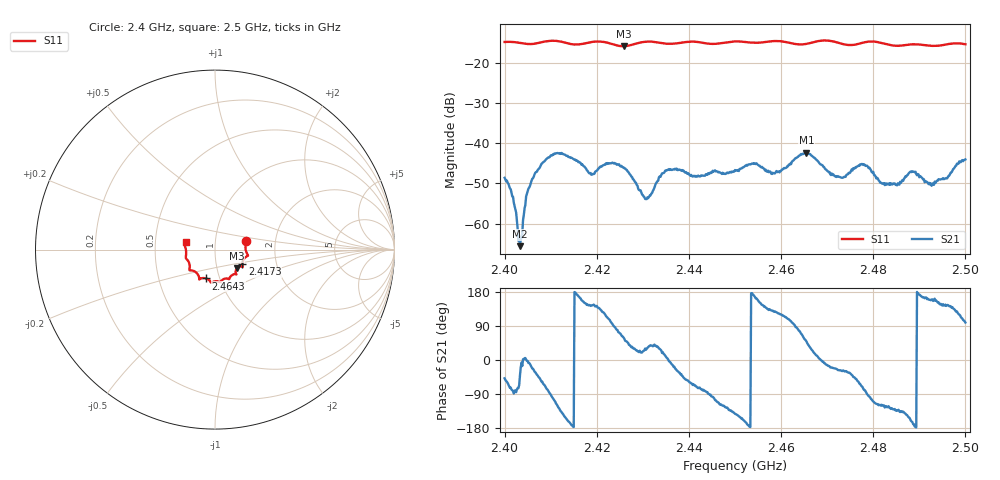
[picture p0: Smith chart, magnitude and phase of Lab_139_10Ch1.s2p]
# Hz S RI R 50
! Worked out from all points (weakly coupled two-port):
!   601 points, 2.4 GHz to 2.5 GHz, reference 50 ohm
!   highest |S21| = -42.39 dB at 2.4655 GHz (marker M1); lowest = -65.6 dB at 2.4033 GHz (marker M2)
!   lowest |S11| = -15.9 dB at 2.4258 GHz (marker M3), VSWR 1.38, Z = 62.3 - j13.2 ohm
!   |S11| at or under -10 dB: start of sweep to end of sweep
!   S12 and S22 are empty: the file has one direction only
!   S11 on the Smith chart (normalised r, x): 2.4 GHz: 1.41, +0.14; 2.4173 GHz: 1.34, -0.23; 2.4643 GHz: 0.86, -0.28; 2.5 GHz: 0.72, +0.06
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2.4e9  0.1736 0.0496  0.00247 -0.00278  0 0  0 0
2.401667e9  0.1755 0.043  0.00039 -0.00214  0 0  0 0
2.403333e9  0.1729 0.032  0.000399 -0.000342  0 0  0 0
2.405167e9  0.1698 0.0113  0.0027 -0.000373  0 0  0 0
2.408333e9  0.1794 -0.0236  0.0027 -0.00512  0 0  0 0
2.411833e9  0.1808 -0.0359  -0.00451 -0.00593  0 0  0 0
2.416667e9  0.1529 -0.0745  -0.00502 0.002  0 0  0 0
2.417333e9  0.1523 -0.0818  -0.00445 0.00251  0 0  0 0
2.425833e9  0.1215 -0.1036  0.00259 0.00427  0 0  0 0
2.430667e9  0.1189 -0.1376  0.0018 0.000916  0 0  0 0
2.433333e9  0.113 -0.1367  0.00284 0.00189  0 0  0 0
2.45e9  0.0296 -0.1809  -0.00365 -0.00286  0 0  0 0
2.458333e9  -0.0199 -0.184  -0.00263 0.00331  0 0  0 0
2.464333e9  -0.0502 -0.1606  0.00257 0.00687  0 0  0 0
2.4655e9  -0.0641 -0.1585  0.00496 0.00576  0 0  0 0
2.466667e9  -0.0763 -0.1598  0.00624 0.00311  0 0  0 0
2.471667e9  -0.0872 -0.1588  0.00359 -0.00148  0 0  0 0
2.477667e9  -0.1327 -0.1161  0.00177 -0.00521  0 0  0 0
2.483333e9  -0.1408 -0.0893  -0.00162 -0.00259  0 0  0 0
2.488667e9  -0.1621 -0.0476  -0.00435 -0.000807  0 0  0 0
2.493e9  -0.1608 -0.0135  -0.00291 0.0013  0 0  0 0
2.5e9  -0.1637 0.0422  -0.000971 0.0062  0 0  0 0
